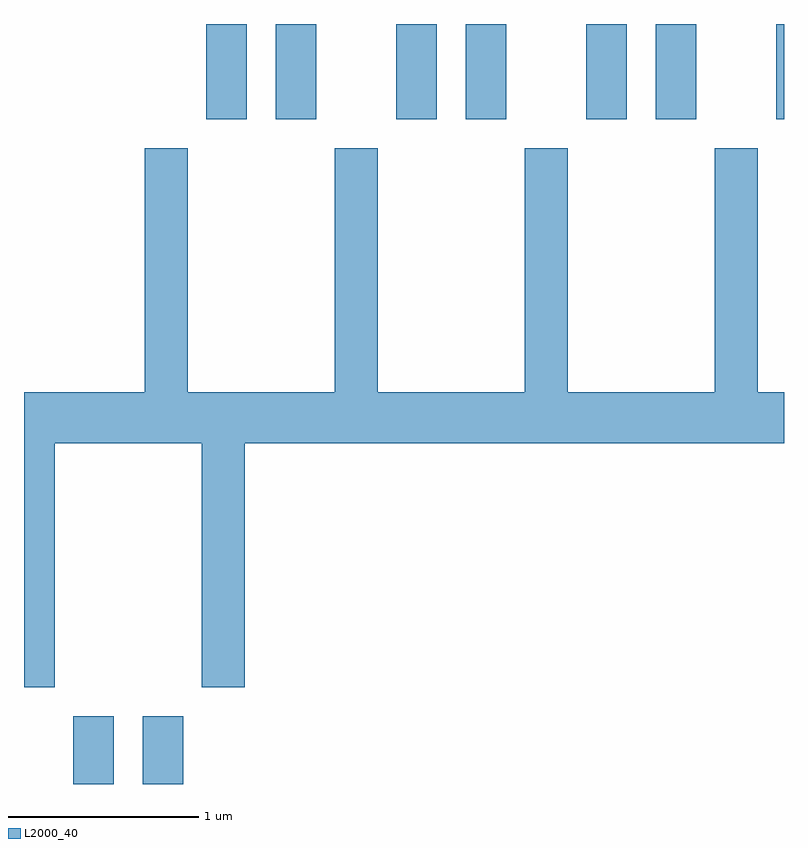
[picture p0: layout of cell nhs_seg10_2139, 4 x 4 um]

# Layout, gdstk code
import gdstk
lib = gdstk.Library(unit=1e-6, precision=1e-09)
def R(c, l, rs):  # rectangles x0, y0, x1, y1
    for r in rs: c.add(gdstk.rectangle(r[:2], r[2:], *l))
def P(c, l, *ps):  # polygons
    for p in ps: c.add(gdstk.Polygon(p, *l))
L2000_40 = (2000, 40)

nhs_seg10_2139 = lib.new_cell('nhs_seg10_2139')
R(nhs_seg10_2139, L2000_40, [(247.871,2156.522,248.084,2156.879), (248.236,2156.522,248.449,2156.879), (248.571,2160.021,248.784,2160.522), (248.936,2160.021,249.149,2160.522), (249.571,2160.021,249.784,2160.522), (249.936,2160.021,250.149,2160.522), (250.571,2160.021,250.784,2160.522), (250.936,2160.021,251.149,2160.522), (251.571,2160.021,251.611,2160.522)])
P(nhs_seg10_2139, L2000_40, [(247.774,2158.316),(248.546,2158.316),(248.546,2157.031),(248.774,2157.031),(248.774,2158.316),(251.611,2158.316),(251.611,2158.584),(251.474,2158.584),(251.474,2159.869),(251.246,2159.869),(251.246,2158.584),(250.474,2158.584),(250.474,2159.869),(250.246,2159.869),(250.246,2158.584),(249.474,2158.584),(249.474,2159.869),(249.246,2159.869),(249.246,2158.584),(248.474,2158.584),(248.474,2159.869),(248.246,2159.869),(248.246,2158.584),(247.611,2158.584),(247.611,2157.031),(247.774,2157.031)])

lib.write_gds('nhs_seg10_2139.gds')
